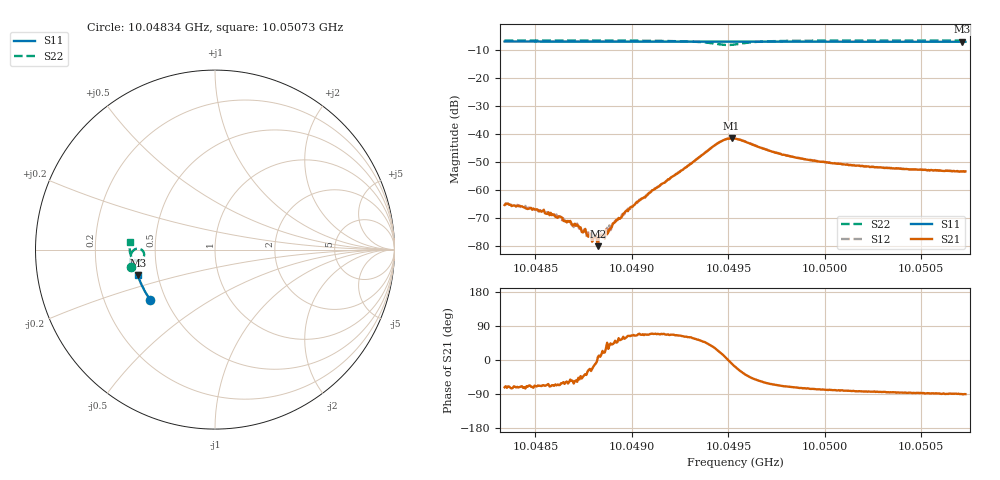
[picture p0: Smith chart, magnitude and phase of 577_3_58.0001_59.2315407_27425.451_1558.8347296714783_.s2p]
#  HZ  S  RI  R  50.00
! Rohde & Schwarz Vector Network Analyzer
! Rohde-Schwarz,ZNB20-2Port,1311601062101988,3.16
! Created: UTC 3/21/2024, 1:16:10 AM
! freq[Hz]  re:S11  im:S11  re:S21  im:S21  re:S12  im:S12  re:S22  im:S22
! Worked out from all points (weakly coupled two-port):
!   401 points, 10.04834 GHz to 10.05073 GHz, reference 50 ohm
!   highest |S21| = -41.40 dB at 10.04952 GHz (marker M1); lowest = -79.9 dB at 10.04882 GHz (marker M2)
!   lowest |S11| = -6.9 dB at 10.05071 GHz (marker M3), VSWR 2.65, Z = 19.3 - j6.89 ohm
!   |S11| at or under -10 dB: nowhere
!   |S22| runs from -8.1 to -6.4 dB; largest |S21 - S12| = 0.00061
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1.004834e10  -0.3602 -0.2802  0.000171 -0.000522  0.000193 -0.000525  -0.4674 -0.0965
1.0048442e10  -0.3642 -0.2748  0.000156 -0.000473  0.000191 -0.000485  -0.4684 -0.0892
1.0048531e10  -0.3674 -0.27  0.000151 -0.000388  0.000163 -0.000377  -0.4695 -0.0825
1.0048603e10  -0.3701 -0.2661  0.000147 -0.000307  0.000175 -0.000302  -0.4702 -0.0773
1.0048627e10  -0.3709 -0.2648  0.00014 -0.000314  0.000149 -0.000267  -0.4702 -0.0754
1.0048717e10  -0.3744 -0.2598  0.000129 -0.000203  0.000185 -0.000176  -0.471 -0.0684
1.004874e10  -0.3751 -0.2585  0.000119 -0.000136  0.000138 -0.000129  -0.4711 -0.0667
1.0048782e10  -0.3767 -0.2562  0.000157 -6.8e-05  0.000175 -7.65e-05  -0.4713 -0.0633
1.0048824e10  -0.3781 -0.2538  0.0001 1.36e-05  0.000154 1.1e-05  -0.4713 -0.0599
1.0048872e10  -0.3798 -0.2512  0.000115 0.000117  0.000182 0.000114  -0.4715 -0.0557
1.004889e10  -0.3803 -0.2501  0.000148 0.000143  0.000133 0.000142  -0.4714 -0.0543
1.0048914e10  -0.3813 -0.2488  0.000171 0.000211  0.000163 0.000237  -0.4715 -0.0522
1.0048979e10  -0.3835 -0.2451  0.000189 0.000381  0.000189 0.000433  -0.4712 -0.0461
1.0049141e10  -0.3888 -0.236  0.000435 0.0011  0.000372 0.00113  -0.4687 -0.029
1.0049439e10  -0.3975 -0.2184  0.00596 0.00316  0.00575 0.00355  -0.4138 0.00227
1.0049517e10  -0.3996 -0.2141  0.00841 -0.00134  0.0085 -0.000745  -0.3964 -0.0393
1.0049535e10  -0.4002 -0.2133  0.00804 -0.00255  0.00818 -0.00198  -0.4016 -0.0494
1.0049738e10  -0.4065 -0.2017  0.00205 -0.00434  0.00231 -0.00425  -0.4624 -0.0457
1.0049935e10  -0.4119 -0.1897  0.000819 -0.00332  0.00102 -0.00332  -0.4725 -0.0209
1.0050335e10  -0.4217 -0.1656  0.000192 -0.00251  0.000368 -0.0025  -0.4753 0.0139
1.0050711e10  -0.4294 -0.1421  4.11e-06 -0.00217  0.000128 -0.00218  -0.4739 0.0418
1.0050729e10  -0.4299 -0.1409  -1.56e-06 -0.00219  0.000139 -0.00218  -0.4739 0.0431
